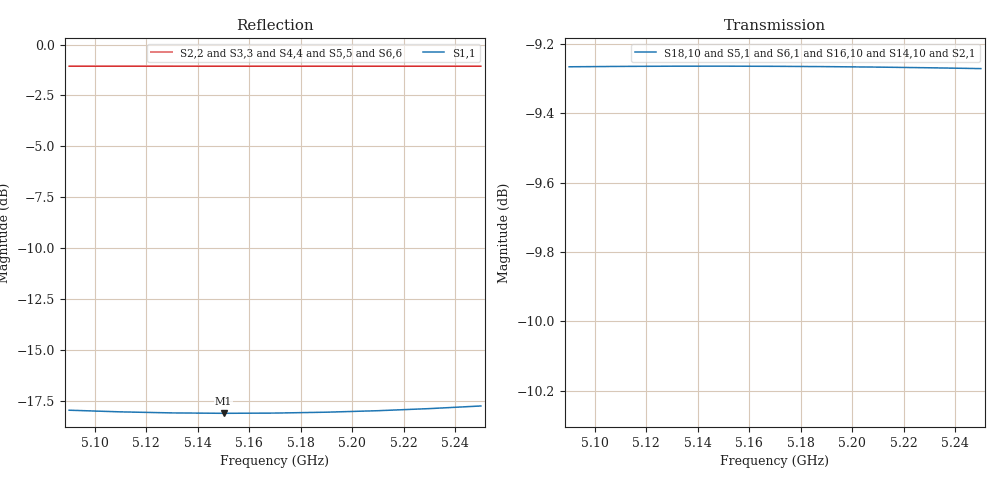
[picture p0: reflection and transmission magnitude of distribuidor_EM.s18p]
! Touchstone file exported from HFSS 2024.2.0
!  File:  D:/dev/EMBRAER/P1H/Radial_Soldado/Radial_Soldado_2x8.aedt
!  Generated:  01:03:15 PM Nov  6, 2026
!  Design:  Duplo_radial
!  Project:  Radial_Soldado_2x8
!  Setup:  Divisor
!  Solution:  Banda
# GHz S RI R 50.000000
! Terminal data exported
! Port[1] = A_IN
! Port[2] = A1
! Port[3] = A2
! Port[4] = A3
! Port[5] = A4
! Port[6] = A5
! Port[7] = A6
! Port[8] = A7
! Port[9] = A8
! Port[10] = B_IN
! Port[11] = B1
! Port[12] = B2
! Port[13] = B3
! Port[14] = B4
! Port[15] = B5
! Port[16] = B6
! Port[17] = B7
! Port[18] = B8
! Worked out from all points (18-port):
!   9 points, 5.09 GHz to 5.25 GHz, reference 50 ohm
!   strongest paths, dB at 5.09 GHz, 5.13 GHz, 5.17 GHz, 5.21 GHz, 5.25 GHz:
!     S18,10: -9.3, -9.3, -9.3, -9.3, -9.3
!     S5,1: -9.3, -9.3, -9.3, -9.3, -9.3
!     S6,1: -9.3, -9.3, -9.3, -9.3, -9.3
!     S16,10: -9.3, -9.3, -9.3, -9.3, -9.3
!     S14,10: -9.3, -9.3, -9.3, -9.3, -9.3
!     S2,1: -9.3, -9.3, -9.3, -9.3, -9.3
!   lowest |S11| = -18.1 dB at 5.15 GHz (marker M1), VSWR 1.28, Z = 60.1 - j9.3 ohm
!   |S11| at or under -10 dB: start of sweep to end of sweep
